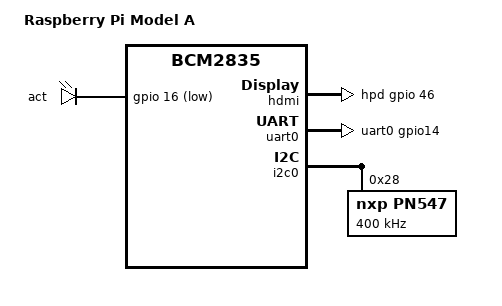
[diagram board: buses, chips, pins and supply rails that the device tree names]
// SPDX-License-Identifier: GPL-2.0
/dts-v1/;
#include "bcm2835.dtsi"
#include "bcm2835-rpi.dtsi"
#include "bcm283x-rpi-usb-host.dtsi"
#include "bcm283x-rpi-csi1-2lane.dtsi"

/ {
	compatible = "raspberrypi,model-a", "brcm,bcm2835";
	model = "Raspberry Pi Model A";

	leds {
		act {
			gpios = <&gpio 16 1>;
		};
	};
};

&gpio {
	/*
	 * Taken from Raspberry-Pi-Rev-1.0-Model-AB-Schematics.pdf
	 * RPI00021 sheet 02
	 *
	 * Legend:
	 * "NC" = not connected (no rail from the SoC)
	 * "FOO" = GPIO line named "FOO" on the schematic
	 * "FOO_N" = GPIO line named "FOO" on schematic, active low
	 */
	gpio-line-names = "SDA0",
			  "SCL0",
			  "SDA1",
			  "SCL1",
			  "GPIO_GCLK",
			  "CAM_GPIO1",
			  "LAN_RUN",
			  "SPI_CE1_N",
			  "SPI_CE0_N",
			  "SPI_MISO",
			  "SPI_MOSI",
			  "SPI_SCLK",
			  "NC", /* GPIO12 */
			  "NC", /* GPIO13 */
			  /* Serial port */
			  "TXD0",
			  "RXD0",
			  "STATUS_LED_N",
			  "GPIO17",
			  "GPIO18",
			  "NC", /* GPIO19 */
			  "NC", /* GPIO20 */
			  "GPIO21",
			  "GPIO22",
			  "GPIO23",
			  "GPIO24",
			  "GPIO25",
			  "NC", /* GPIO26 */
			  "CAM_GPIO0",
			  /* Binary number representing build/revision */
			  "CONFIG0",
			  "CONFIG1",
			  "CONFIG2",
			  "CONFIG3",
			  "NC", /* GPIO32 */
			  "NC", /* GPIO33 */
			  "NC", /* GPIO34 */
			  "NC", /* GPIO35 */
			  "NC", /* GPIO36 */
			  "NC", /* GPIO37 */
			  "NC", /* GPIO38 */
			  "NC", /* GPIO39 */
			  "PWM0_OUT",
			  "NC", /* GPIO41 */
			  "NC", /* GPIO42 */
			  "NC", /* GPIO43 */
			  "NC", /* GPIO44 */
			  "PWM1_OUT",
			  "HDMI_HPD_P",
			  "SD_CARD_DET",
			  /* Used by SD Card */
			  "SD_CLK_R",
			  "SD_CMD_R",
			  "SD_DATA0_R",
			  "SD_DATA1_R",
			  "SD_DATA2_R",
			  "SD_DATA3_R";

	pinctrl-0 = <&gpioout &alt0 &i2s_alt2>;

	/* I2S interface */
	i2s_alt2: i2s_alt2 {
		brcm,pins = <28 29 30 31>;
		brcm,function = <BCM2835_FSEL_ALT2>;
	};




};

&hdmi {
	hpd-gpios = <&gpio 46 GPIO_ACTIVE_HIGH>;
};

&uart0 {
	pinctrl-names = "default";
	pinctrl-0 = <&uart0_gpio14>;
	status = "okay";
};

/*
gpio2: gpio2 {
	brcm,pins = <3>;
	brcm,function = <BCM2835_FSEL_ALT0>;
};

gpio3: gpio3 {
	brcm,pins = <5>;
	brcm,function = <BCM2835_FSEL_ALT0>;
};
*/

&i2c0{
	status = "okay";
	pn547: pn547@28 {
		compatible = "nxp,pn547";
		reg = <0x28>;
		clock-frequency = <400000>;
		//interrupt-gpios = <&gpio2 17 0>;
		//enable-gpios = <&gpio3 21 0>;
	};
};

/*
&i2c{
	status = "okay";
	pn547: pn547@29 {
		compatible = "nxp,pn547";
		reg = <0x29>;
		clock-frequency = <400000>;
		interrupt-gpios = <&gpio2 17 0>;
		enable-gpios = <&gpio4 21 0>;
	};
};
*/

